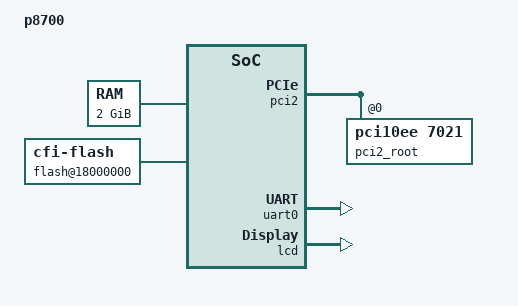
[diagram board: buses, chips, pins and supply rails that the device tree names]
// SPDX-License-Identifier: GPL-2.0+
/*
 * Copyright (C) 2021, Chao-ying Fu <cfu@mips.com>
 */

/dts-v1/;

#include <dt-bindings/clock/boston-clock.h>
#include <dt-bindings/gpio/gpio.h>
#include <dt-bindings/interrupt-controller/irq.h>

#define IRQ_TYPE_LEVEL_HIGH 4
#define UART_INT 4
#define PCIE2_INT 7
#define APLIC_S_BASE 0x16160000

/ {
	#address-cells = <1>;
	#size-cells = <1>;
	model = "p8700";
	compatible = "img,boston";

	aliases {
		serial0 = &uart0;
	};

	chosen {
		stdout-path = "serial0:115200n8";
	};

	cpus {
		#address-cells = <1>;
		#size-cells = <0>;
		timebase-frequency = <25000000>;

		cpu@0 {
			device_type = "cpu";
			compatible = "riscv";
			reg = <0>;
			mmu-type = "riscv,sv39";
			riscv,isa-extensions = "i", "m", "a", "f", "d", "c", "zba", "zbb";
			clocks = <&clk_boston BOSTON_CLK_CPU>;
			clock-frequency = <25000000>;
			bootph-all;
			status = "okay";

			cpu0_intc: interrupt-controller {
				compatible = "riscv,cpu-intc";
				interrupt-controller;
				#interrupt-cells = <1>;
			};
		};
	};

	memory@0 {
		device_type = "memory";
		reg = <0x80000000 0x80000000>;
	};

	timer@16154000 {
		compatible = "riscv,aclint-mtimer";
		reg = <0x16108050 0x8>,
			  <0x16154000 0x7ff8>;
		interrupts-extended = <&cpu0_intc 7>;
	};

	pci0: pci@10000000 {
		device_type = "pci";
		compatible = "xlnx,axi-pcie-host-1.00.a";
		reg = <0x10000000 0x2000000>;

		#address-cells = <3>;
		#size-cells = <2>;
		#interrupt-cells = <1>;

		interrupt-parent = <&aplic_s0>;
		interrupts = <PCIE2_INT IRQ_TYPE_LEVEL_HIGH>;

		ranges = <0x02000000 0 0x40000000
			  0x40000000 0 0x40000000>;

		bus-range = <0x00 0xff>;

		interrupt-map-mask = <0 0 0 7>;
		interrupt-map = <0 0 0 1 &pci0_intc 1>,
				<0 0 0 2 &pci0_intc 2>,
				<0 0 0 3 &pci0_intc 3>,
				<0 0 0 4 &pci0_intc 4>;

		status = "disabled";

		pci0_intc: interrupt-controller {
			interrupt-controller;
			#address-cells = <0>;
			#interrupt-cells = <1>;
		};
	};

	pci1: pci@12000000 {
		device_type = "pci";
		compatible = "xlnx,axi-pcie-host-1.00.a";
		reg = <0x12000000 0x2000000>;

		#address-cells = <3>;
		#size-cells = <2>;
		#interrupt-cells = <1>;

		interrupt-parent = <&aplic_s0>;
		interrupts = <PCIE2_INT IRQ_TYPE_LEVEL_HIGH>;

		ranges = <0x02000000 0 0x20000000
			  0x20000000 0 0x20000000>;

		bus-range = <0x00 0xff>;

		interrupt-map-mask = <0 0 0 7>;
		interrupt-map = <0 0 0 1 &pci1_intc 1>,
				<0 0 0 2 &pci1_intc 2>,
				<0 0 0 3 &pci1_intc 3>,
				<0 0 0 4 &pci1_intc 4>;

		status = "disabled";

		pci1_intc: interrupt-controller {
			interrupt-controller;
			#address-cells = <0>;
			#interrupt-cells = <1>;
		};
	};

	pci2: pci@14000000 {
		device_type = "pci";
		compatible = "xlnx,axi-pcie-host-1.00.a";
		reg = <0x14000000 0x2000000>;

		#address-cells = <3>;
		#size-cells = <2>;
		#interrupt-cells = <1>;

		interrupt-parent = <&aplic_s0>;
		interrupts = <PCIE2_INT IRQ_TYPE_LEVEL_HIGH>;

		ranges = <0x02000000 0 0x16000000
			  0x16000000 0 0x100000>;

		bus-range = <0x00 0xff>;

		interrupt-map-mask = <0 0 0 7>;
		interrupt-map = <0 0 0 1 &pci2_intc 1>,
				<0 0 0 2 &pci2_intc 2>,
				<0 0 0 3 &pci2_intc 3>,
				<0 0 0 4 &pci2_intc 4>;

		pci2_intc: interrupt-controller {
			interrupt-controller;
			#address-cells = <0>;
			#interrupt-cells = <1>;
		};

		pci2_root@0,0,0 {
			compatible = "pci10ee,7021", "pci-bridge";
			reg = <0x00000000 0 0 0 0>;

			#address-cells = <3>;
			#size-cells = <2>;
			#interrupt-cells = <1>;

			eg20t_bridge@1,0,0 {
				compatible = "pci8086,8800", "pci-bridge";
				reg = <0x00010000 0 0 0 0>;

				#address-cells = <3>;
				#size-cells = <2>;
				#interrupt-cells = <1>;

				eg20t_mac@2,0,1 {
					compatible = "pci8086,8802", "intel,pch-gbe";
					reg = <0x00020100 0 0 0 0>;
					phy-reset-gpios = <&eg20t_gpio 6 GPIO_ACTIVE_LOW>;
				};

				eg20t_gpio: eg20t_gpio@2,0,2 {
					compatible = "pci8086,8803", "intel,eg20t-gpio";
					reg = <0x00020200 0 0 0 0>;

					gpio-controller;
					#gpio-cells = <2>;
				};

				mmc0: mmc@2,4,0 {
					compatible = "intel,apl-sd";
					reg = <0x00022000 0 0 0 0>;
				};

				mmc1: mmc@2,4,1 {
					compatible = "intel,apl-sd";
					reg = <0x00022100 0 0 0 0>;
				};

				eg20t_i2c@2,12,2 {
					compatible = "pci8086,8817";
					reg = <0x00026200 0 0 0 0>;

					#address-cells = <1>;
					#size-cells = <0>;

					rtc@0x68 {
						compatible = "st,m41t81s";
						reg = <0x68>;
					};
				};
			};
		};
	};

	plat_regs: system-controller@17ffd000 {
		compatible = "img,boston-platform-regs", "syscon";
		reg = <0x17ffd000 0x1000>;
		bootph-all;
	};

	clk_boston: clock {
		compatible = "img,boston-clock";
		#clock-cells = <1>;
		regmap = <&plat_regs>;
		bootph-all;
	};

	reboot: syscon-reboot {
		compatible = "syscon-reboot";
		regmap = <&plat_regs>;
		offset = <0x10>;
		mask = <0x10>;
	};

	uart0: uart@17ffe000 {
		compatible = "ns16550a";
		reg = <0x17ffe000 0x1000>;
		reg-shift = <2>;
		reg-io-width = <4>;

		interrupt-parent = <&aplic_s0>;
		interrupts = <UART_INT IRQ_TYPE_LEVEL_HIGH>;

		clocks = <&clk_boston BOSTON_CLK_SYS>;
		clock-frequency = <25000000>;

		bootph-all;
	};

	lcd: lcd@17fff000 {
		compatible = "img,boston-lcd";
		reg = <0x17fff000 0x8>;
	};

	flash@18000000 {
		compatible = "cfi-flash";
		reg = <0x18000000 0x8000000>;
		bank-width = <2>;
	};

	soc {
		#address-cells = <1>;
		#size-cells = <1>;
		compatible = "simple-bus";
		ranges;
		
		aplic_s0: interrupt-controller@16160000 {
			compatible = "riscv,aplic";
			reg = <APLIC_S_BASE 0x00008000>;
			
			#interrupt-cells = <2>;
			interrupt-controller;
			interrupts-extended = <&cpu0_intc 9>;
			
			riscv,num-sources = <0x00000035>;
		};
	};
};
